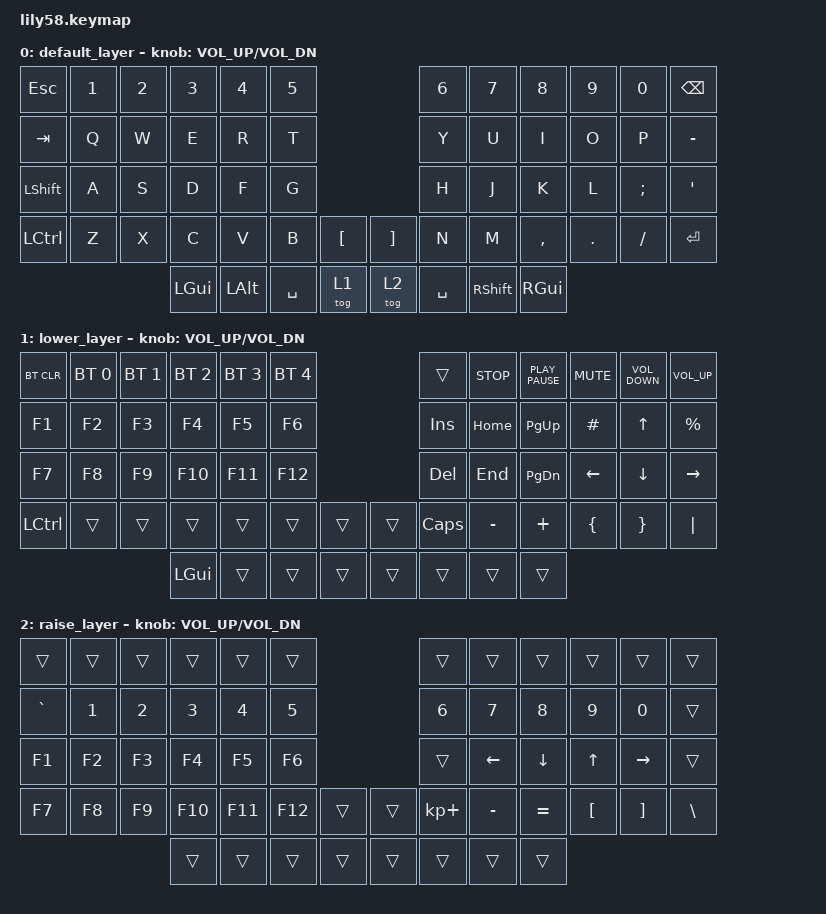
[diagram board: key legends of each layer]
/*
 * Copyright (c) 2020 The ZMK Contributors
 *
 * SPDX-License-Identifier: MIT
 */

#include <behaviors.dtsi>
#include <dt-bindings/zmk/bt.h>
#include <dt-bindings/zmk/keys.h>

/ {
    keymap {
        compatible = "zmk,keymap";

        default_layer {
            // ------------------------------------------------------------------------------------------------------------
            // |  ESC  |  1  |  2  |  3   |  4   |  5   |                   |  6   |  7    |  8    |  9   |   0   |   `   |
            // |  TAB  |  Q  |  W  |  E   |  R   |  T   |                   |  Y   |  U    |  I    |  O   |   P   |   -   |
            // |  CTRL |  A  |  S  |  D   |  F   |  G   |                   |  H   |  J    |  K    |  L   |   ;   |   '   |
            // | SHIFT |  Z  |  X  |  C   |  V   |  B   |   "["  |  |  "]"  |  N   |  M    |  ,    |  .   |   /   | SHIFT |
            //                     | ALT  | GUI  | LOWER|  SPACE |  | ENTER | RAISE| BSPC  | GUI   |

            bindings = <
&kp ESC    &kp N1  &kp N2  &kp N3    &kp N4    &kp N5                           &kp N6     &kp N7     &kp N8     &kp N9   &kp N0    &kp BSPC
&kp TAB    &kp Q   &kp W   &kp E     &kp R     &kp T                            &kp Y      &kp U      &kp I      &kp O    &kp P     &kp MINUS
&kp LSHFT  &kp A   &kp S   &kp D     &kp F     &kp G                            &kp H      &kp J      &kp K      &kp L    &kp SEMI  &kp SQT
&kp LCTRL  &kp Z   &kp X   &kp C     &kp V     &kp B      &kp LBKT    &kp RBKT  &kp N      &kp M      &kp COMMA  &kp DOT  &kp FSLH  &kp RET
                           &kp LGUI  &kp LALT  &kp SPACE  &tog 1      &tog 2    &kp SPACE  &kp RSHFT  &kp RGUI
            >;

            sensor-bindings = <&inc_dec_kp C_VOL_UP C_VOL_DN>;
        };

        lower_layer {
            // ------------------------------------------------------------------------------------------------------------
            // | BTCLR | BT1 | BT2 |  BT3 |  BT4 |  BT5 |                   |      |       |       |      |       |       |
            // |  F1   |  F2 |  F3 |  F4  |  F5  |  F6  |                   |  INS |  HOME | PG_UP |  #   |   ^   |  %    |
            // |  F7   |  F8 |  F9 |  F10 |  F11 |  F12 |                   |  DEL |  END  | PG_DN |  <-  |   v   |   ->  |
            // |       |     |     |      |      |      |        |  |       | CLCK |  _    |  +    |  {   |   }   |  "|"  |
            //                     |      |      |      |        |  |       |      |       |       |

            bindings = <
&bt BT_CLR        &bt BT_SEL 0  &bt BT_SEL 1  &bt BT_SEL 2  &bt BT_SEL 3  &bt BT_SEL 4                    &trans    &kp K_STOP  &kp K_PLAY_PAUSE  &kp K_MUTE  &kp C_VOLUME_DOWN  &kp C_VOL_UP
&kp F1            &kp F2        &kp F3        &kp F4        &kp F5        &kp F6                          &kp INS   &kp HOME    &kp PG_UP         &kp HASH    &kp UP             &kp PRCNT
&kp F7            &kp F8        &kp F9        &kp F10       &kp F11       &kp F12                         &kp DEL   &kp END     &kp PG_DN         &kp LEFT    &kp DOWN           &kp RIGHT
&kp LEFT_CONTROL  &trans        &trans        &trans        &trans        &trans        &trans    &trans  &kp CLCK  &kp MINUS   &kp PLUS          &kp LBRC    &kp RBRC           &kp PIPE
                                              &kp LEFT_GUI  &trans        &trans        &trans    &trans  &trans    &trans      &trans
            >;

            sensor-bindings = <&inc_dec_kp C_VOL_UP C_VOL_DN>;
        };

        raise_layer {
            // ------------------------------------------------------------------------------------------------------------
            // |       |     |     |      |      |      |                   |      |       |       |      |       |       |
            // |   `   |  1  |  2  |  3   |  4   |  5   |                   |  6   |   7   |   8   |  9   |   0   |       |
            // |   F1  |  F2 |  F3 |  F4  |  F5  |  F6  |                   |      |   <-  |   v   |  ^   |  ->   |       |
            // |   F7  |  F8 |  F9 |  F10 |  F11 |  F12 |        |  |       |  +   |   -   |   =   |  [   |   ]   |   \   |
            //                     |      |      |      |        |  |       |      |       |       |

            bindings = <
&trans     &trans  &trans  &trans   &trans   &trans                     &trans       &trans     &trans     &trans    &trans     &trans
&kp GRAVE  &kp N1  &kp N2  &kp N3   &kp N4   &kp N5                     &kp N6       &kp N7     &kp N8     &kp N9    &kp N0     &trans
&kp F1     &kp F2  &kp F3  &kp F4   &kp F5   &kp F6                     &trans       &kp LEFT   &kp DOWN   &kp UP    &kp RIGHT  &trans
&kp F7     &kp F8  &kp F9  &kp F10  &kp F11  &kp F12  &trans    &trans  &kp KP_PLUS  &kp MINUS  &kp EQUAL  &kp LBKT  &kp RBKT   &kp BSLH
                           &trans   &trans   &trans   &trans    &trans  &trans       &trans     &trans
            >;

            sensor-bindings = <&inc_dec_kp C_VOL_UP C_VOL_DN>;
        };
    };
};
